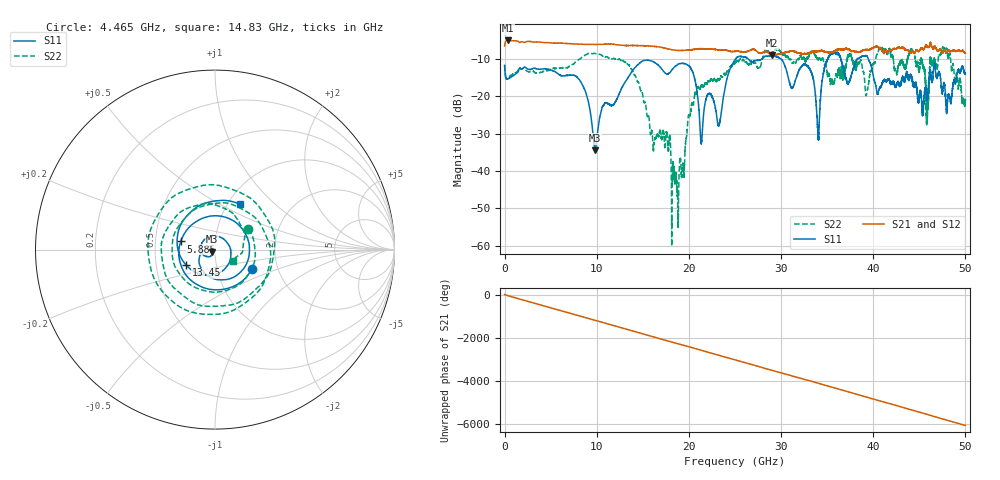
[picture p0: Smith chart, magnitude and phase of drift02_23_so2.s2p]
!Created with skrf (http://scikit-rf.org).
# Hz S RI R 50.0
!freq ReS11 ImS11 ReS21 ImS21 ReS12 ImS12 ReS22 ImS22
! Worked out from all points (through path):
!   10001 points, 300 kHz to 50 GHz, reference 50 ohm
!   highest |S21| = -5.04 dB at 325.3 MHz (marker M1); lowest = -9.0 dB at 29.01 GHz (marker M2)
!   group delay of S21, straight-line fit = 336 ps
!   lowest |S11| = -34.5 dB at 9.84 GHz (marker M3), VSWR 1.04, Z = 48.5 - j1.05 ohm
!   |S11| at or under -10 dB: start of sweep to 25.07 GHz; 29.97 GHz to 35.05 GHz (5.081 GHz wide, 15.6 % of centre); 39.47 GHz to end of sweep (the widest 3 of 8)
!   |S22| runs from -60.2 to -6.8 dB; largest |S21 - S12| = 0.022
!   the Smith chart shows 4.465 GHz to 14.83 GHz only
!   S11 on the Smith chart (normalised r, x): 4.465 GHz: 1.47, -0.34; 5.885 GHz: 0.68, +0.06; 13.45 GHz: 0.71, -0.13; 14.83 GHz: 1.14, +0.63
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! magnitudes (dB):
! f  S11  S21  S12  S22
! 300 kHz  -11.7  -6.5  -6.4  -11.6
! 325.3 MHz  -15.4  -5.0  -5.0  -15.0
! 4.465 GHz  -12.6  -5.6  -5.6  -13.2
! 5.885 GHz  -14.2  -5.7  -5.7  -12.5
! 8.335 GHz  -16.4  -6.0  -6.0  -9.6
! 9.84 GHz  -34.5  -6.1  -6.1  -8.6
! 13.45 GHz  -14.8  -6.4  -6.4  -11.6
! 14.83 GHz  -10.8  -6.4  -6.4  -18.6
! 16.67 GHz  -11.7  -6.7  -6.7  -30.6
! 18.68 GHz  -11.7  -7.7  -7.7  -45.2
! 20.37 GHz  -13.3  -7.5  -7.5  -21.9
! 21.37 GHz  -32.3  -7.3  -7.3  -17.0
! 23.31 GHz  -27.5  -7.6  -7.6  -15.6
! 25 GHz  -10.3  -8.0  -8.0  -11.1
! 29.01 GHz  -9.1  -9.0  -9.0  -8.3
! 33.34 GHz  -13.9  -8.1  -8.2  -8.1
! 34.02 GHz  -31.1  -7.9  -7.9  -10.2
! 35.51 GHz  -8.4  -8.1  -8.2  -15.4
! 41.67 GHz  -15.4  -7.6  -7.8  -7.7
! 45.85 GHz  -20.9  -6.7  -6.7  -21.2
! 47.76 GHz  -17.3  -7.5  -7.5  -7.3
! 50 GHz  -14.0  -8.4  -8.5  -21.2
